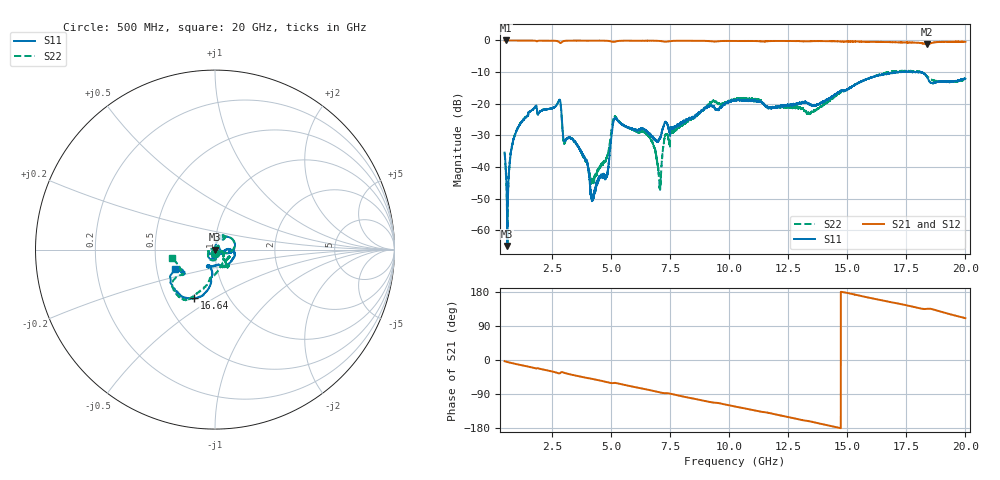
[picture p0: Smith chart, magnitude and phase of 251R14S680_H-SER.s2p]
!{251R14S680}
!Johanson Technology Inc.
!www.johansontechnology.com
!Test Board Conditions:
!Substrate Type  RO4350B
!Substrate Thickness  20 mil
!Substrate Dk  3.66
!TL Type: GCPW
!TL Trace Width  36 mil
!TL Gap  12 mil
!Electrode orientation  Horizontal
!DUT TOPOLOGY	SERIES
!Mounting Pad LxW  26x36 mil
! Created Wed Mar 11 15:52:13 2020
# mhz S ma R 50
! 2 Port Network Data from SP1.SP block
! freq  magS11  angS11  magS21  angS21  magS12  angS12  magS22  angS22
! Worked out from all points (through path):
!   19501 points, 500 MHz to 20 GHz, reference 50 ohm
!   highest |S21| = 0.00 dB at 567 MHz (marker M1); lowest = -1.2 dB at 18.36 GHz (marker M2)
!   group delay of S21, straight-line fit = 34.5 ps
!   lowest |S11| = -64.9 dB at 617 MHz (marker M3), VSWR 1.00, Z = 50.1 - j0.0023 ohm
!   |S11| at or under -10 dB: start of sweep to 17.18 GHz; 17.98804 GHz to 18.04571 GHz (57.67 MHz wide, 0.32 % of centre); 18.09 GHz to end of sweep (the widest 3 of 22)
!   |S22| runs from -65.0 to -9.6 dB; largest |S21 - S12| = 0.019
!   S11 on the Smith chart (normalised r, x): 500 MHz: 1.00, -0.03; 16.64 GHz: 0.69, -0.41; 20 GHz: 0.62, -0.15
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500  0.01687 -91.1  0.9983 -3.2  0.9977 -3.3  0.01688 -90.6
567  0.006697 -89.2  0.9998 -4.4  0.9985 -4.4  0.00647 -92.0
617  0.0005665 -2.3  0.9986 -5.3  0.9994 -5.2  0.0005607 -7.9
947  0.03318 80.3  0.9979 -10.1  0.9978 -10.1  0.03317 79.2
1764  0.08598 67.2  0.9924 -21.2  0.9913 -21.2  0.08695 66.7
2797  0.1116 33.1  0.9519 -35.4  0.9525 -35.4  0.1114 34.9
3038  0.02576 21.1  0.984 -34.0  0.9845 -34.0  0.02371 31.6
3750  0.01723 35.4  0.9943 -44.3  0.9941 -44.3  0.01703 43.8
4229  0.003288 -114.8  0.9916 -50.1  0.9919 -50.2  0.00595 -85.3
4822  0.006966 -102.0  0.9857 -58.2  0.987 -58.2  0.01398 -85.0
5187  0.05901 -116.5  0.9604 -60.5  0.9595 -60.5  0.06216 -113.1
6571  0.03481 -138.4  0.9916 -78.5  0.9911 -78.5  0.0316 176.8
7000  0.02601 -102.9  0.9859 -84.5  0.9855 -84.4  0.009711 176.1
7102  0.02994 -87.0  0.9781 -85.9  0.9788 -85.8  0.005715 -109.8
7334  0.05086 -99.5  0.9558 -87.4  0.9566 -87.4  0.03282 -112.9
9266  0.09297 -8.3  0.9683 -111.7  0.9683 -111.7  0.1057 -57.3
10250  0.1144 -13.8  0.9819 -122.7  0.9836 -122.7  0.1183 -54.9
13500  0.09468 -112.7  0.9736 -162.9  0.9743 -163.0  0.07442 -47.0
16635  0.2932 -113.3  0.9447 155.3  0.9365 154.9  0.3095 -117.3
16750  0.2992 -115.3  0.9416 153.8  0.9354 153.4  0.3165 -117.9
18357  0.2707 -151.4  0.8746 134.8  0.8674 134.6  0.2755 -144.1
20000  0.2484 -153.8  0.9516 110.2  0.9517 110.4  0.2422 -169.3
